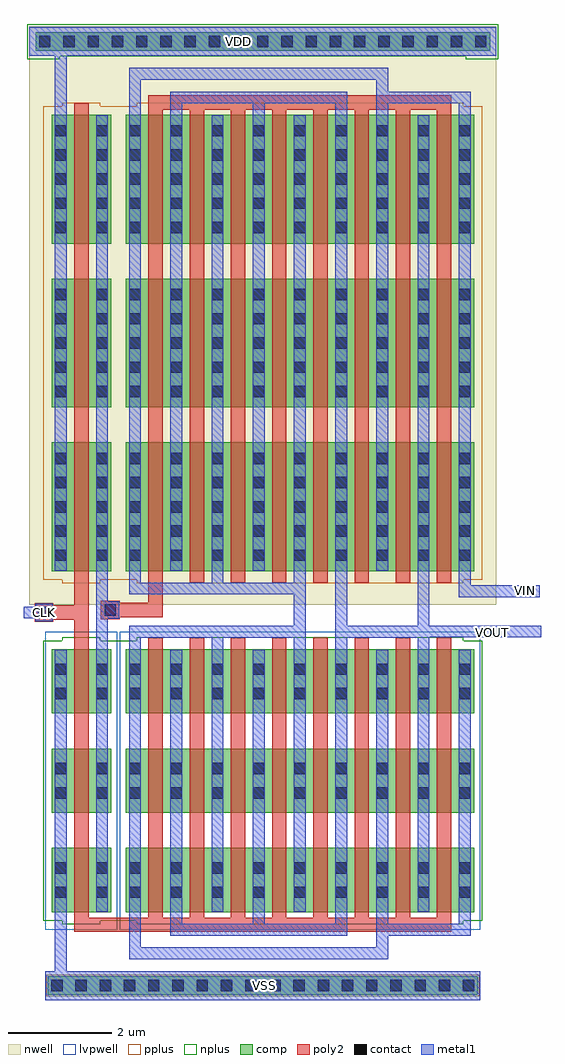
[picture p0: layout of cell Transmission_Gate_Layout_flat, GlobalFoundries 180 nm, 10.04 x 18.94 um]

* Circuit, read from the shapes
.subckt Transmission_Gate_Layout_flat CLK VDD VIN VOUT VSS
XM1 n1 CLK VSS VSS nfet_03v3 w=1.25u l=0.28u m=3
XM2 VOUT CLK VIN VSS nfet_03v3 w=1.25u l=0.28u m=24
XM3 n1 CLK VDD VDD pfet_03v3 w=2.5u l=0.28u m=3
XM4 VOUT n1 VIN VDD pfet_03v3 w=2.5u l=0.28u m=24
.ends

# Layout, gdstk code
import gdstk
lib = gdstk.Library(unit=1e-6, precision=1e-09)
def R(c, l, rs):  # rectangles x0, y0, x1, y1
    for r in rs: c.add(gdstk.rectangle(r[:2], r[2:], *l))
def A(c, l, x, y, w, h, nx, ny, dx, dy):  # array of equal rectangles
    R(c, l, [(x+i*dx, y+j*dy, x+i*dx+w, y+j*dy+h) for i in range(nx) for j in range(ny)])
nwell = (21, 0)
comp = (22, 0)
poly2 = (30, 0)
pplus = (31, 0)
nplus = (32, 0)
contact = (33, 0)
metal1 = (34, 0)
lvpwell = (204, 0)

transmission_gate_layout = lib.new_cell('Transmission_Gate_Layout_flat')
R(transmission_gate_layout, nwell, [(-1.75,6.31,7.31,17.54)])
A(transmission_gate_layout, comp, -1.32, 0.34, 1.16, 1.25, 1, 3, 0, 1.93)
A(transmission_gate_layout, comp, 0.12, 0.34, 6.76, 1.25, 1, 3, 0, 1.93)
A(transmission_gate_layout, comp, -1.32, 6.96, 1.16, 2.5, 1, 3, 0, 3.18)
A(transmission_gate_layout, comp, 0.12, 6.96, 6.76, 2.5, 1, 3, 0, 3.18)
R(transmission_gate_layout, comp, [(-1.395,-1.26,6.955,-0.9), (-1.63,17.06,7.19,17.42)])
A(transmission_gate_layout, poly2, 0.56, 0.24, 0.28, 5.43, 8, 1, 0.8, 0)
A(transmission_gate_layout, poly2, 1.36, 6.74, 0.28, 9.18, 7, 1, 0.8, 0)
R(transmission_gate_layout, poly2, [(-0.88,-0.04,6.44,0.24), (-0.88,0.24,-0.6,6.02), (-1.645,5.98,-1.285,6.02), (-1.645,6.02,-0.6,6.3), (-0.36,6.03,0,6.07), (-0.36,6.07,0.84,6.35), (-1.645,6.3,-1.285,6.34), (-0.88,6.3,-0.6,16.04), (-0.36,6.35,0,6.39), (0.56,6.35,0.84,15.92), (0.56,15.92,6.44,16.2)])
R(transmission_gate_layout, pplus, [(-1.425,-1.29,6.985,-0.87), (-1.11,6.73,-0.37,6.8), (0.33,6.73,6.67,6.8), (-1.48,6.8,7.04,15.98), (-1.11,15.98,-0.37,16.05), (0.33,15.98,6.67,16.05)])
R(transmission_gate_layout, nplus, [(-1.11,0.11,-0.37,0.18), (0.33,0.11,6.67,0.18), (-1.48,0.18,7.04,5.61), (-1.11,5.61,-0.37,5.68), (0.33,5.61,6.67,5.68), (-1.79,16.9,-1.16,16.95), (6.72,16.9,7.35,16.95), (-1.79,16.95,7.35,17.58)])
A(transmission_gate_layout, contact, -1.325, -1.19, 0.22, 0.22, 18, 1, 0.47, 0)
A(transmission_gate_layout, contact, 0.19, 0.62, 0.22, 0.22, 9, 2, 0.8, 0.47)
A(transmission_gate_layout, contact, 0.19, 2.55, 0.22, 0.22, 9, 2, 0.8, 0.47)
A(transmission_gate_layout, contact, 0.19, 4.48, 0.22, 0.22, 9, 2, 0.8, 0.47)
A(transmission_gate_layout, contact, -1.25, 7.16, 0.22, 0.22, 1, 5, 0, 0.47)
A(transmission_gate_layout, contact, -0.45, 7.16, 0.22, 0.22, 1, 5, 0, 0.47)
A(transmission_gate_layout, contact, 0.19, 7.16, 0.22, 0.22, 9, 5, 0.8, 0.47)
A(transmission_gate_layout, contact, -1.25, 10.34, 0.22, 0.22, 1, 5, 0, 0.47)
A(transmission_gate_layout, contact, -0.45, 10.34, 0.22, 0.22, 1, 5, 0, 0.47)
A(transmission_gate_layout, contact, 0.19, 10.34, 0.22, 0.22, 9, 5, 0.8, 0.47)
A(transmission_gate_layout, contact, -1.25, 13.52, 0.22, 0.22, 1, 5, 0, 0.47)
A(transmission_gate_layout, contact, -0.45, 13.52, 0.22, 0.22, 1, 5, 0, 0.47)
A(transmission_gate_layout, contact, 0.19, 13.52, 0.22, 0.22, 9, 5, 0.8, 0.47)
A(transmission_gate_layout, contact, -1.56, 17.13, 0.22, 0.22, 19, 1, 0.47, 0)
R(transmission_gate_layout, contact, [(-1.25,0.62,-1.03,0.84), (-0.45,0.62,-0.23,0.84), (-1.25,1.09,-1.03,1.31), (-0.45,1.09,-0.23,1.31), (-1.25,2.55,-1.03,2.77), (-0.45,2.55,-0.23,2.77), (-1.25,3.02,-1.03,3.24), (-0.45,3.02,-0.23,3.24), (-1.25,4.48,-1.03,4.7), (-0.45,4.48,-0.23,4.7), (-1.25,4.95,-1.03,5.17), (-0.45,4.95,-0.23,5.17), (-1.575,6.05,-1.355,6.27), (-0.29,6.1,-0.07,6.32)])
R(transmission_gate_layout, metal1, [(-1.44,-1.36,7,-0.8), (-1.255,-0.8,-1.025,5.44), (0.185,-0.57,5.215,-0.34), (0.185,-0.34,0.415,5.67), (4.985,-0.34,5.215,-0.11), (0.985,-0.11,4.415,0.12), (4.985,-0.11,6.815,0.12), (0.985,0.12,1.215,5.44), (2.585,0.12,2.815,5.44), (4.185,0.12,4.415,5.67), (4.985,0.12,5.215,5.44), (6.585,0.12,6.815,5.44), (-0.455,0.35,-0.225,6.04), (1.785,0.35,2.015,5.67), (3.385,0.35,3.615,5.67), (5.785,0.35,6.015,5.67), (0.185,5.67,3.615,5.9), (4.185,5.67,6.015,5.675), (4.185,5.675,8.185,5.9), (3.385,5.9,3.615,6.51), (4.185,5.9,4.415,16.04), (5.785,5.9,8.185,5.905), (5.785,5.905,6.015,15.81), (-1.635,5.99,-1.295,6.045), (-0.455,6.04,-0.01,6.38), (-1.86,6.045,-1.295,6.275), (-1.635,6.275,-1.295,6.33), (-0.455,6.38,-0.225,15.81), (6.585,6.46,8.155,6.69), (0.185,6.51,3.615,6.74), (6.585,6.69,6.815,16.04), (0.185,6.74,0.415,16.5), (1.785,6.74,2.015,15.81), (3.385,6.74,3.615,15.81), (-1.255,6.97,-1.025,16.96), (0.985,6.97,1.215,16.04), (2.585,6.97,2.815,16.04), (4.985,6.97,5.215,16.04), (0.985,16.04,4.415,16.27), (4.985,16.04,6.815,16.27), (4.985,16.27,5.215,16.5), (0.185,16.5,5.215,16.73), (-1.75,16.96,7.31,17.52)])
R(transmission_gate_layout, lvpwell, [(-1.44,0,-0.04,5.79), (0,0,7,5.79)])
transmission_gate_layout.add(gdstk.Label('VSS', (2.805,-1.08), layer=34, texttype=10))
transmission_gate_layout.add(gdstk.Label('VDD', (2.31,17.24), layer=22, texttype=0))
transmission_gate_layout.add(gdstk.Label('CLK', (-1.465,6.16), layer=30, texttype=10))
transmission_gate_layout.add(gdstk.Label('VIN', (7.875,6.58), layer=34, texttype=10))
transmission_gate_layout.add(gdstk.Label('VOUT', (7.24,5.78), layer=34, texttype=10))

lib.write_gds('Transmission_Gate_Layout_flat.gds')
